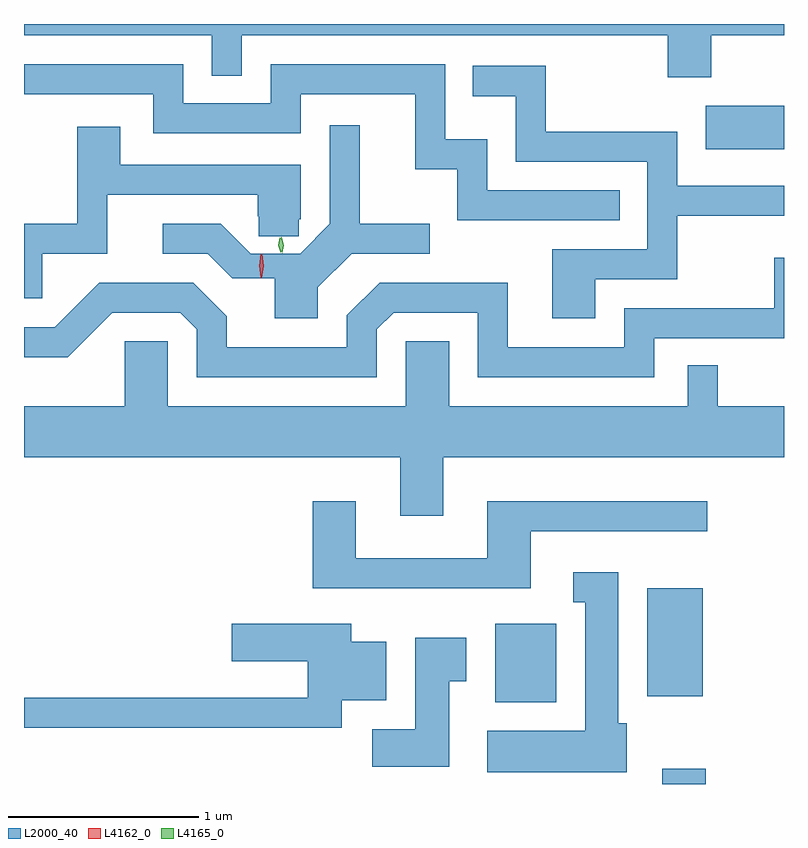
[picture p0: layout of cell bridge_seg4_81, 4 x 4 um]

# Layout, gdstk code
import gdstk
lib = gdstk.Library(unit=1e-6, precision=1e-09)
def R(c, l, rs):  # rectangles x0, y0, x1, y1
    for r in rs: c.add(gdstk.rectangle(r[:2], r[2:], *l))
def P(c, l, *ps):  # polygons
    for p in ps: c.add(gdstk.Polygon(p, *l))
L2000_40 = (2000, 40)
L4162_0 = (4162, 0)
L4165_0 = (4165, 0)

bridge_seg4_81 = lib.new_cell('bridge_seg4_81')
R(bridge_seg4_81, L2000_40, [(1865.881,1317.435,1866.109,1317.514), (1865.001,1317.866,1865.324,1318.279), (1865.801,1317.896,1866.094,1318.464), (1866.111,1320.776,1866.522,1321.004)])
P(bridge_seg4_81, L2000_40, [(1866.139,1321.376),(1866.522,1321.376),(1866.522,1321.435),(1862.522,1321.435),(1862.522,1321.376),(1863.511,1321.376),(1863.511,1321.163),(1863.669,1321.163),(1863.669,1321.376),(1865.911,1321.376),(1865.911,1321.156),(1866.139,1321.156)],
  [(1865.658,1320.559),(1864.959,1320.559),(1864.959,1320.829),(1864.739,1320.829),(1864.739,1321.224),(1863.821,1321.224),(1863.821,1321.019),(1863.359,1321.019),(1863.359,1321.224),(1862.522,1321.224),(1862.522,1321.066),(1863.201,1321.066),(1863.201,1320.861),(1863.979,1320.861),(1863.979,1321.066),(1864.581,1321.066),(1864.581,1320.671),(1864.801,1320.671),(1864.801,1320.401),(1865.658,1320.401)],
  [(1865.529,1320.091),(1865.959,1320.091),(1865.959,1320.426),(1866.522,1320.426),(1866.522,1320.584),(1865.959,1320.584),(1865.959,1320.869),(1865.269,1320.869),(1865.269,1321.214),(1864.883,1321.214),(1864.883,1321.056),(1865.111,1321.056),(1865.111,1320.711),(1865.801,1320.711),(1865.801,1320.249),(1865.301,1320.249),(1865.301,1319.886),(1865.529,1319.886)],
  [(1864.069,1320.049),(1864.247,1320.226),(1864.658,1320.226),(1864.658,1320.384),(1864.289,1320.384),(1864.289,1320.903),(1864.131,1320.903),(1864.131,1320.383),(1863.975,1320.226),(1863.715,1320.226),(1863.557,1320.384),(1863.253,1320.384),(1863.253,1320.226),(1863.489,1320.226),(1863.619,1320.096),(1863.841,1320.096),(1863.841,1319.886),(1864.069,1319.886)],
  [(1862.619,1320.226),(1862.959,1320.226),(1862.959,1320.536),(1863.751,1320.536),(1863.751,1320.424),(1863.757,1320.424),(1863.757,1320.317),(1863.968,1320.317),(1863.968,1320.407),(1863.978,1320.407),(1863.978,1320.694),(1863.029,1320.694),(1863.029,1320.894),(1862.801,1320.894),(1862.801,1320.384),(1862.522,1320.384),(1862.522,1319.991),(1862.619,1319.991)],
  [(1864.379,1319.829),(1864.467,1319.916),(1864.911,1319.916),(1864.911,1319.576),(1865.839,1319.576),(1865.839,1319.781),(1866.522,1319.781),(1866.522,1320.204),(1866.471,1320.204),(1866.471,1319.939),(1865.681,1319.939),(1865.681,1319.734),(1865.069,1319.734),(1865.069,1320.074),(1864.394,1320.074),(1864.221,1319.902),(1864.221,1319.734),(1863.589,1319.734),(1863.589,1319.897),(1863.412,1320.074),(1862.919,1320.074),(1862.684,1319.839),(1862.522,1319.839),(1862.522,1319.681),(1862.752,1319.681),(1862.987,1319.916),(1863.344,1319.916),(1863.431,1319.829),(1863.431,1319.576),(1864.379,1319.576)],
  [(1864.729,1319.156),(1866.522,1319.156),(1866.522,1319.424),(1866.174,1319.424),(1866.174,1319.638),(1866.016,1319.638),(1866.016,1319.424),(1864.759,1319.424),(1864.759,1319.764),(1864.531,1319.764),(1864.531,1319.424),(1863.279,1319.424),(1863.279,1319.764),(1863.051,1319.764),(1863.051,1319.424),(1862.522,1319.424),(1862.522,1319.156),(1864.501,1319.156),(1864.501,1318.846),(1864.729,1318.846)],
  [(1865.189,1318.766),(1866.118,1318.766),(1866.118,1318.924),(1864.961,1318.924),(1864.961,1318.624),(1864.269,1318.624),(1864.269,1318.924),(1864.041,1318.924),(1864.041,1318.466),(1865.189,1318.466)],
  [(1865.694,1317.754),(1865.649,1317.754),(1865.649,1318.549),(1865.413,1318.549),(1865.413,1318.391),(1865.476,1318.391),(1865.476,1317.714),(1864.961,1317.714),(1864.961,1317.496),(1865.694,1317.496)],
  [(1864.194,1317.876),(1864.429,1317.876),(1864.429,1318.184),(1864.244,1318.184),(1864.244,1318.279),(1863.616,1318.279),(1863.616,1318.081),(1864.016,1318.081),(1864.016,1317.889),(1862.522,1317.889),(1862.522,1317.731),(1864.194,1317.731)],
  [(1864.759,1317.976),(1864.849,1317.976),(1864.849,1318.204),(1864.581,1318.204),(1864.581,1317.724),(1864.356,1317.724),(1864.356,1317.526),(1864.759,1317.526)])
P(bridge_seg4_81, L4162_0, [(1863.771,1320.098),(1863.764,1320.162),(1863.775,1320.225),(1863.776,1320.226),(1863.776,1320.225),(1863.784,1320.161),(1863.772,1320.098),(1863.772,1320.098)],
  [(1863.769,1320.101),(1863.769,1320.102),(1863.759,1320.162),(1863.769,1320.222),(1863.769,1320.223),(1863.77,1320.222),(1863.779,1320.162),(1863.77,1320.102)])
P(bridge_seg4_81, L4165_0, [(1863.881,1320.229),(1863.88,1320.23),(1863.869,1320.271),(1863.877,1320.312),(1863.878,1320.313),(1863.878,1320.312),(1863.889,1320.271),(1863.881,1320.23)],
  [(1863.872,1320.231),(1863.872,1320.232),(1863.861,1320.27),(1863.869,1320.31),(1863.87,1320.31),(1863.87,1320.31),(1863.881,1320.271),(1863.873,1320.232)])

lib.write_gds('bridge_seg4_81.gds')
